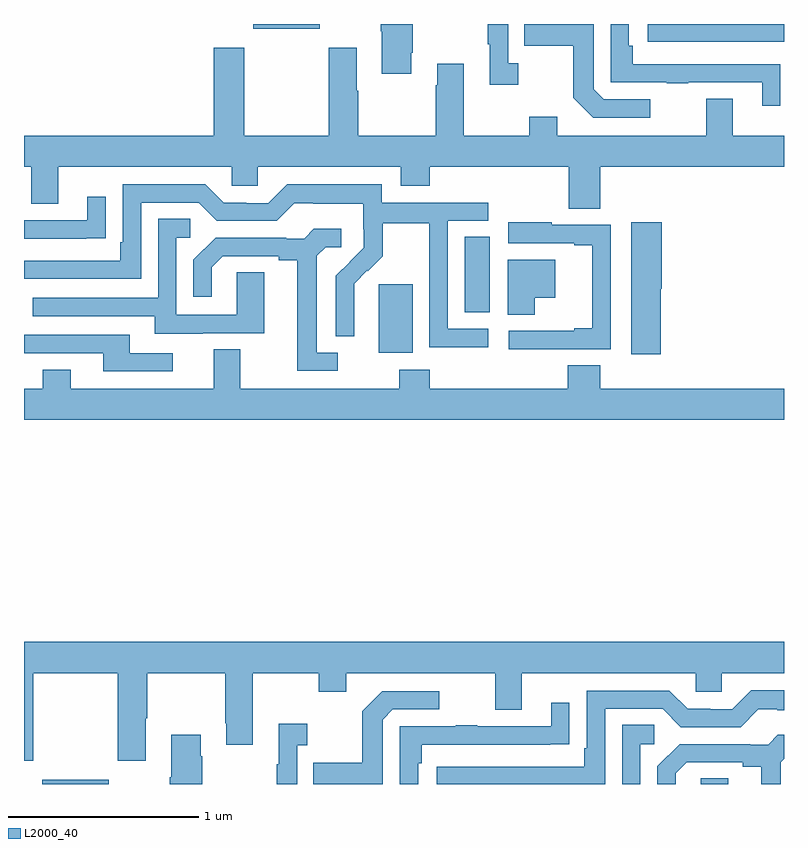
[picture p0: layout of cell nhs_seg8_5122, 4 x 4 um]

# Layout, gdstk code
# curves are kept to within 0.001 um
import gdstk
lib = gdstk.Library(unit=1e-6, precision=1e-09)
def R(c, l, rs):  # rectangles x0, y0, x1, y1
    for r in rs: c.add(gdstk.rectangle(r[:2], r[2:], *l))
def P(c, l, *ps):  # polygons
    for p in ps: c.add(gdstk.Polygon(p, *l))
L2000_40 = (2000, 40)

nhs_seg8_5122 = lib.new_cell('nhs_seg8_5122')
R(nhs_seg8_5122, L2000_40, [(419.096,1131.9,419.446,1131.922), (422.562,1131.9,422.707,1131.929), (420.866,1134.17,421.045,1134.531), (421.319,1134.382,421.45,1134.779), (422.283,1135.806,423,1135.9), (420.206,1135.874,420.556,1135.9)])
P(nhs_seg8_5122, L2000_40, [(422.296,1135.503),(422.052,1135.503),(421.998,1135.557),(421.998,1135.9),(421.633,1135.9),(421.633,1135.786),(421.89,1135.786),(421.89,1135.513),(421.995,1135.407),(422.296,1135.407)],
  [(421.6,1135.694),(421.548,1135.694),(421.548,1135.9),(421.44,1135.9),(421.44,1135.793),(421.451,1135.793),(421.451,1135.581),(421.6,1135.581)],
  [(422.981,1135.688),(422.879,1135.688),(422.879,1135.689),(422.204,1135.689),(422.204,1135.786),(422.184,1135.786),(422.184,1135.9),(422.088,1135.9),(422.088,1135.593),(422.383,1135.593),(422.383,1135.588),(422.495,1135.588),(422.495,1135.593),(422.885,1135.593),(422.885,1135.47),(422.981,1135.47)],
  [(421.039,1135.75),(421.047,1135.75),(421.047,1135.9),(420.877,1135.9),(420.877,1135.861),(420.884,1135.861),(420.884,1135.638),(421.039,1135.638)],
  [(422.033,1135.148),(423,1135.148),(423,1135.312),(422.731,1135.312),(422.731,1135.507),(422.591,1135.507),(422.591,1135.312),(421.807,1135.312),(421.807,1135.411),(421.66,1135.411),(421.66,1135.312),(421.315,1135.312),(421.315,1135.69),(421.175,1135.69),(421.175,1135.577),(421.168,1135.577),(421.168,1135.312),(420.759,1135.312),(420.759,1135.55),(420.751,1135.55),(420.751,1135.774),(420.604,1135.774),(420.604,1135.312),(420.159,1135.312),(420.159,1135.774),(419.999,1135.774),(419.999,1135.312),(419,1135.312),(419,1135.148),(419.039,1135.148),(419.039,1134.954),(419.179,1134.954),(419.179,1135.148),(420.093,1135.148),(420.093,1135.05),(420.231,1135.05),(420.231,1135.148),(420.983,1135.148),(420.983,1135.049),(421.136,1135.049),(421.136,1135.148),(421.867,1135.148),(421.867,1134.928),(422.033,1134.928)],
  [(421.444,1134.297),(421.23,1134.297),(421.23,1134.864),(421.444,1134.864),(421.444,1134.96),(420.882,1134.96),(420.882,1135.057),(420.385,1135.057),(420.285,1134.957),(420.17,1134.957),(420.17,1134.96),(420.051,1134.96),(419.955,1135.056),(419.52,1135.056),(419.52,1134.751),(419.507,1134.751),(419.507,1134.654),(419,1134.654),(419,1134.558),(419.616,1134.558),(419.616,1134.96),(419.919,1134.96),(420.015,1134.864),(420.33,1134.864),(420.423,1134.957),(420.523,1134.957),(420.523,1134.953),(420.786,1134.953),(420.786,1134.819),(420.788,1134.819),(420.788,1134.722),(420.642,1134.574),(420.642,1134.256),(420.738,1134.256),(420.737,1134.533),(420.807,1134.603),(420.81,1134.6),(420.887,1134.677),(420.887,1134.852),(421.132,1134.852),(421.132,1134.628),(421.134,1134.628),(421.134,1134.199),(421.444,1134.199)],
  [(419.327,1134.772),(419.429,1134.772),(419.429,1134.991),(419.333,1134.991),(419.333,1134.867),(419,1134.867),(419,1134.771),(419.327,1134.771)],
  [(419.941,1134.273),(420.265,1134.273),(420.265,1134.593),(420.12,1134.593),(420.12,1134.369),(419.802,1134.369),(419.802,1134.774),(419.875,1134.774),(419.875,1134.875),(419.706,1134.875),(419.706,1134.459),(419.047,1134.459),(419.047,1134.363),(419.687,1134.363),(419.687,1134.269),(419.941,1134.269)],
  [(421.778,1134.189),(422.088,1134.189),(422.088,1134.843),(421.778,1134.843),(421.778,1134.856),(421.548,1134.856),(421.548,1134.747),(421.895,1134.747),(421.895,1134.735),(421.991,1134.735),(421.991,1134.298),(421.895,1134.298),(421.895,1134.285),(421.551,1134.285),(421.551,1134.188),(421.778,1134.188)],
  [(422.351,1134.507),(422.356,1134.507),(422.356,1134.856),(422.195,1134.856),(422.195,1134.162),(422.351,1134.162)],
  [(420.652,1134.171),(420.541,1134.171),(420.541,1134.679),(420.588,1134.726),(420.67,1134.726),(420.67,1134.823),(420.526,1134.823),(420.474,1134.771),(420.38,1134.771),(420.38,1134.774),(420.008,1134.774),(419.892,1134.658),(419.892,1134.465),(419.989,1134.465),(419.989,1134.621),(420.046,1134.678),(420.341,1134.678),(420.341,1134.656),(420.437,1134.656),(420.437,1134.075),(420.652,1134.075)],
  [(421.689,1134.458),(421.795,1134.458),(421.795,1134.658),(421.547,1134.658),(421.547,1134.37),(421.689,1134.37)],
  [(419.782,1134.168),(419.557,1134.168),(419.557,1134.264),(419,1134.264),(419,1134.168),(419.417,1134.168),(419.417,1134.072),(419.782,1134.072)],
  [(423,1133.98),(422.033,1133.98),(422.033,1134.104),(421.862,1134.104),(421.862,1133.98),(421.136,1133.98),(421.136,1134.079),(420.976,1134.079),(420.976,1133.98),(420.139,1133.98),(420.139,1134.188),(419.999,1134.188),(419.999,1133.98),(419.245,1133.98),(419.245,1134.079),(419.098,1134.079),(419.098,1133.98),(419,1133.98),(419,1133.816),(423,1133.816)],
  [(419,1132.023),(419.049,1132.023),(419.049,1132.484),(419.494,1132.484),(419.494,1132.023),(419.641,1132.023),(419.641,1132.246),(419.649,1132.246),(419.649,1132.484),(420.058,1132.484),(420.058,1132.219),(420.065,1132.219),(420.065,1132.107),(420.205,1132.107),(420.205,1132.484),(420.55,1132.484),(420.55,1132.385),(420.697,1132.385),(420.697,1132.484),(421.481,1132.484),(421.481,1132.29),(421.621,1132.29),(421.621,1132.484),(422.535,1132.484),(422.535,1132.386),(422.673,1132.386),(422.673,1132.484),(423,1132.484),(423,1132.648),(419,1132.648)],
  [(422.058,1132.296),(422.361,1132.296),(422.457,1132.2),(422.772,1132.2),(422.865,1132.293),(422.965,1132.293),(422.965,1132.289),(423,1132.289),(423,1132.393),(422.827,1132.393),(422.727,1132.293),(422.612,1132.293),(422.612,1132.296),(422.493,1132.296),(422.397,1132.392),(421.962,1132.392),(421.962,1132.087),(421.949,1132.087),(421.949,1131.99),(421.173,1131.99),(421.173,1131.9),(422.058,1131.9)],
  [(420.888,1132.239),(420.942,1132.293),(421.186,1132.293),(421.186,1132.389),(420.885,1132.389),(420.78,1132.283),(420.78,1132.011),(420.523,1132.011),(420.523,1131.9),(420.888,1131.9)],
  [(421.074,1132.01),(421.094,1132.01),(421.094,1132.107),(421.769,1132.107),(421.769,1132.108),(421.871,1132.108),(421.871,1132.327),(421.775,1132.327),(421.775,1132.203),(421.385,1132.203),(421.385,1132.208),(421.273,1132.208),(421.273,1132.203),(420.978,1132.203),(420.978,1131.9),(421.074,1131.9)],
  [(420.438,1132.103),(420.49,1132.103),(420.49,1132.216),(420.341,1132.216),(420.341,1132.003),(420.33,1132.003),(420.33,1131.9),(420.438,1131.9)],
  [(422.244,1132.11),(422.317,1132.11),(422.317,1132.211),(422.148,1132.211),(422.148,1131.9),(422.244,1131.9)],
  [(419.937,1132.046),(419.929,1132.046),(419.929,1132.159),(419.774,1132.159),(419.774,1131.935),(419.767,1131.935),(419.767,1131.9),(419.937,1131.9)],
  [(422.431,1131.957),(422.488,1132.014),(422.783,1132.014),(422.783,1131.992),(422.879,1131.992),(422.879,1131.9),(422.983,1131.9),(422.983,1132.015),(423,1132.032),(423,1132.159),(422.968,1132.159),(422.916,1132.107),(422.822,1132.107),(422.822,1132.11),(422.45,1132.11),(422.334,1131.994),(422.334,1131.9),(422.431,1131.9)])

lib.write_gds('nhs_seg8_5122.gds')
